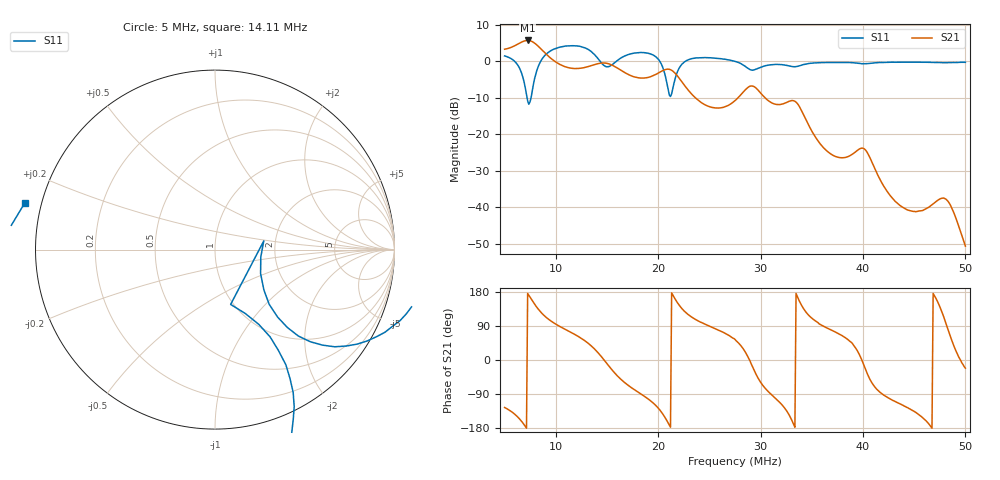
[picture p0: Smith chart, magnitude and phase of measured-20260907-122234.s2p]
! Measured S11/S21; S12/S22 are placeholders, NOT measurements. Calibration unverified.
! NanoVNA F V2 profile | COM3 | 2026-09-07T12:21:44.5945051-04:00 | calibration unverified
# HZ S RI R 50
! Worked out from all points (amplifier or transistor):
!   401 points, 5 MHz to 50 MHz, reference 50 ohm
!   highest |S21| = 5.7 dB at 7.25 MHz (marker M1)
!   |S21| within 3 dB of that: start of sweep to 8.792 MHz
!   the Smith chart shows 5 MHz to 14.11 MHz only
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5000000  1.168 -0.1997  -0.8474 -1.195  0 0  0 0
6350000  0.667 -0.5414  -1.543 -0.809  0 0  0 0
7250000  0.254 -0.1336  -1.926 0.151  0 0  0 0
8487500  0.4413 -0.875  -0.9236 1.194  0 0  0 0
1.05125e7  -0.1155 -1.572  0.0504 0.8887  0 0  0 0
1.25375e7  -1.003 -1.222  0.4481 0.6729  0 0  0 0
1.38875e7  -1.19 0.00402  0.8171 0.4002  0 0  0 0
1.5125e7  0.0636 0.8405  0.9011 -0.2249  0 0  0 0
1.61375e7  0.9725 0.4187  0.5546 -0.56  0 0  0 0
1.72625e7  1.237 -0.2403  0.2125 -0.6059  0 0  0 0
2.0075e7  0.184 -1.023  -0.4405 -0.5425  0 0  0 0
2.0975e7  -0.3835 -0.1328  -0.7576 -0.1869  0 0  0 0
2.1875e7  0.4251 0.5788  -0.5538 0.3036  0 0  0 0
2.345e7  1.093 0.1146  -0.1149 0.314  0 0  0 0
2.75e7  0.898 -0.4358  0.1688 0.2348  0 0  0 0
3.00875e7  0.7875 -0.281  0.1653 -0.3146  0 0  0 0
3.32375e7  0.704 -0.4637  -0.2835 -0.048  0 0  0 0
3.50375e7  0.761 -0.5576  -0.0362 0.102  0 0  0 0
4.01e7  0.5527 -0.7424  0.0614 -0.0159  0 0  0 0
4.2575e7  0.4988 -0.8298  -0.00299 -0.0147  0 0  0 0
4.80875e7  0.2788 -0.9169  -0.00171 0.0128  0 0  0 0
5e7  0.218 -0.9445  0.00272 -0.00107  0 0  0 0
